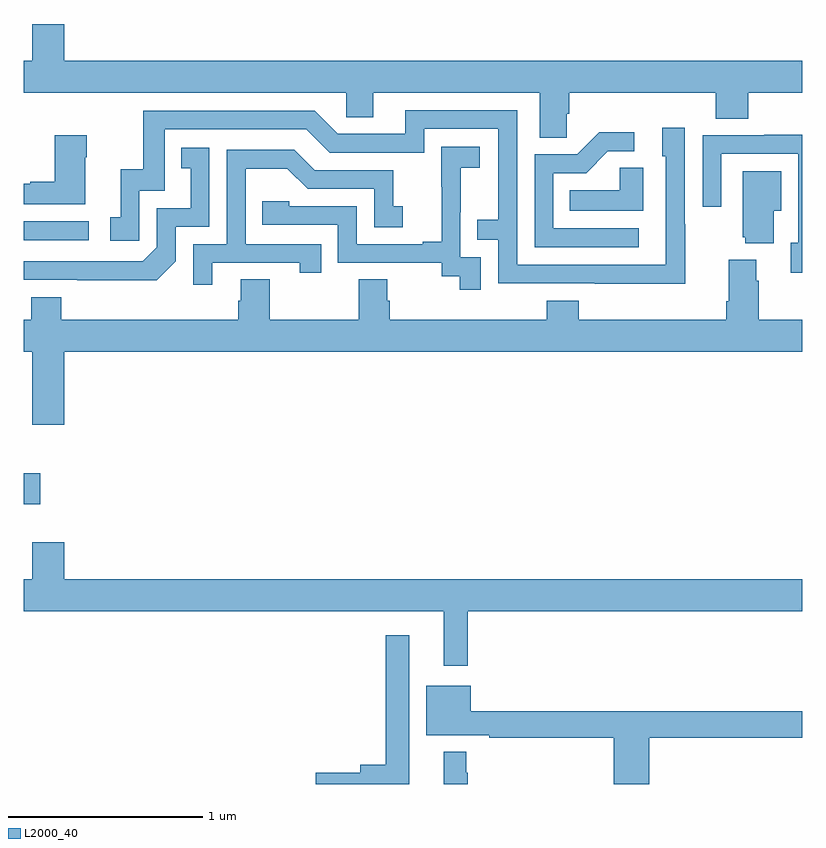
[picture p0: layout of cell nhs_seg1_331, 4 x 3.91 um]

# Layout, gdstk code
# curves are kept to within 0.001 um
import gdstk
lib = gdstk.Library(unit=1e-6, precision=1e-09)
def R(c, l, rs):  # rectangles x0, y0, x1, y1
    for r in rs: c.add(gdstk.rectangle(r[:2], r[2:], *l))
def P(c, l, *ps):  # polygons
    for p in ps: c.add(gdstk.Polygon(p, *l))
L2000_40 = (2000, 40)

nhs_seg1_331 = lib.new_cell('nhs_seg1_331')
R(nhs_seg1_331, L2000_40, [(129,529.637,129.085,529.795), (129,530.994,129.334,531.09)])
P(nhs_seg1_331, L2000_40, [(131.79,531.643),(131.804,531.643),(131.804,531.752),(132.557,531.752),(132.557,531.619),(132.722,531.619),(132.722,531.752),(133,531.752),(133,531.916),(129.208,531.916),(129.208,532.105),(129.044,532.105),(129.044,531.916),(129,531.916),(129,531.752),(130.656,531.752),(130.656,531.625),(130.795,531.625),(130.795,531.752),(131.651,531.752),(131.651,531.52),(131.79,531.52)],
  [(132.399,531.077),(132.396,531.077),(132.396,531.571),(132.281,531.571),(132.281,531.426),(132.3,531.426),(132.3,530.868),(131.535,530.868),(131.535,531.663),(130.961,531.663),(130.961,531.54),(130.614,531.54),(130.494,531.66),(129.614,531.66),(129.614,531.358),(129.497,531.358),(129.497,531.111),(129.444,531.111),(129.444,530.991),(129.594,530.991),(129.594,531.249),(129.723,531.249),(129.723,531.564),(130.452,531.564),(130.572,531.444),(131.058,531.444),(131.058,531.567),(131.439,531.567),(131.439,531.098),(131.329,531.098),(131.329,530.997),(131.439,530.997),(131.439,530.772),(132.399,530.771)],
  [(132.16,531.054),(131.721,531.054),(131.721,531.339),(131.89,531.339),(132.001,531.45),(132.136,531.45),(132.136,531.548),(131.957,531.548),(131.844,531.435),(131.625,531.435),(131.625,530.958),(132.16,530.958)],
  [(133,531.536),(132.805,531.536),(132.805,531.534),(132.489,531.534),(132.489,531.165),(132.585,531.165),(132.585,531.438),(132.981,531.438),(132.981,530.982),(132.941,530.982),(132.941,530.826),(133,530.826)],
  [(129.316,531.419),(129.324,531.419),(129.324,531.532),(129.158,531.532),(129.158,531.293),(129.032,531.293),(129.032,531.283),(129,531.283),(129,531.179),(129.316,531.179)],
  [(131.349,530.907),(131.244,530.907),(131.244,531.137),(131.246,531.137),(131.246,531.365),(131.344,531.365),(131.344,531.475),(131.146,531.475),(131.146,531.269),(131.147,531.269),(131.147,530.986),(131.051,530.986),(131.051,530.973),(130.71,530.973),(130.71,531.168),(130.365,531.168),(130.365,531.195),(130.225,531.195),(130.225,531.072),(130.614,531.072),(130.614,530.877),(131.148,530.877),(131.148,530.809),(131.241,530.809),(131.241,530.739),(131.349,530.739)],
  [(129.78,530.886),(129.78,531.063),(129.954,531.063),(129.954,531.469),(129.808,531.469),(129.808,531.363),(129.857,531.363),(129.857,531.159),(129.684,531.159),(129.684,530.958),(129.612,530.886),(129,530.886),(129,530.79),(129.682,530.789)],
  [(129.967,530.877),(130.418,530.877),(130.418,530.826),(130.529,530.826),(130.529,530.973),(130.14,530.973),(130.14,531.362),(130.354,531.362),(130.458,531.258),(130.8,531.258),(130.8,531.06),(130.948,531.06),(130.948,531.169),(130.899,531.169),(130.899,531.354),(130.495,531.354),(130.39,531.459),(130.044,531.459),(130.044,530.973),(129.87,530.973),(129.87,530.766),(129.967,530.766)],
  [(132.184,531.365),(132.063,531.365),(132.063,531.25),(131.806,531.25),(131.806,531.146),(132.184,531.146)],
  [(132.853,531.146),(132.892,531.146),(132.892,531.349),(132.695,531.349),(132.695,531.009),(132.707,531.009),(132.707,530.978),(132.853,530.978)],
  [(133,530.584),(132.776,530.584),(132.776,530.786),(132.763,530.786),(132.763,530.893),(132.623,530.893),(132.623,530.68),(132.611,530.68),(132.611,530.584),(131.852,530.584),(131.852,530.683),(131.687,530.683),(131.687,530.584),(130.88,530.584),(130.88,530.682),(130.867,530.682),(130.867,530.792),(130.72,530.792),(130.72,530.584),(130.263,530.584),(130.263,530.792),(130.115,530.792),(130.115,530.682),(130.102,530.682),(130.102,530.584),(129.191,530.584),(129.191,530.701),(129.038,530.701),(129.038,530.584),(129,530.584),(129,530.42),(129.044,530.42),(129.044,530.046),(129.208,530.046),(129.208,530.42),(133,530.42)],
  [(131.281,529.088),(133,529.088),(133,529.252),(129.208,529.252),(129.208,529.441),(129.044,529.441),(129.044,529.252),(129,529.252),(129,529.088),(131.159,529.088),(131.159,528.807),(131.281,528.807)],
  [(130.981,528.964),(130.86,528.964),(130.86,528.298),(130.73,528.298),(130.73,528.257),(130.5,528.257),(130.5,528.199),(130.981,528.199)],
  [(132.215,528.436),(133,528.436),(133,528.572),(131.296,528.572),(131.296,528.703),(131.069,528.703),(131.069,528.449),(131.392,528.449),(131.392,528.436),(132.032,528.436),(132.032,528.199),(132.215,528.199)],
  [(131.281,528.257),(131.274,528.257),(131.274,528.364),(131.159,528.364),(131.159,528.199),(131.281,528.199)])

lib.write_gds('nhs_seg1_331.gds')
